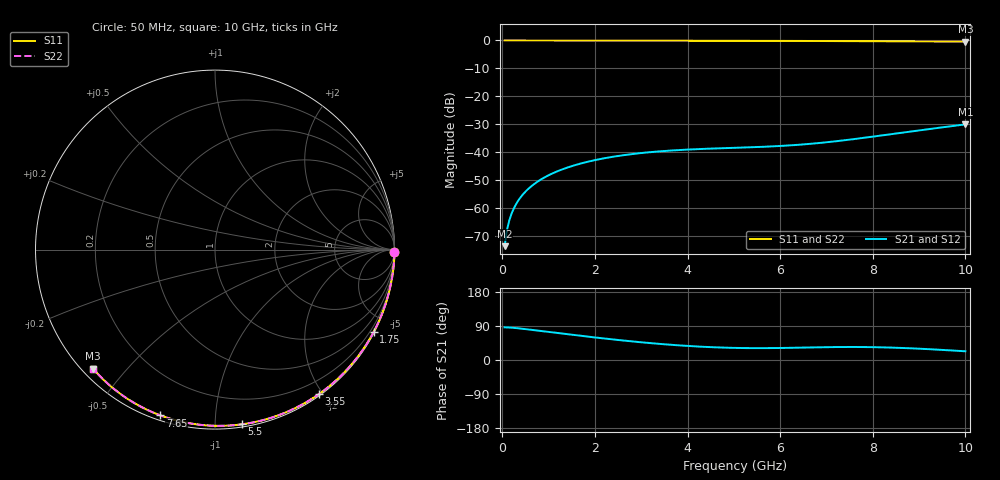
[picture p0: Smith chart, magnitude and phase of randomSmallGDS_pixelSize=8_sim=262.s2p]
! freq	dB(S11)	phase(S11)	dB(S12)	phase(S12)
!  dB(S21)	phase(S21)	dB(S22)	phase(S22)
!S-par simulation data
#  GHz  S  DB  R 50
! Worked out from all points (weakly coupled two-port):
!   200 points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, 50 MHz to 10 GHz, reference 50 ohm
!   highest |S21| = -29.98 dB at 10 GHz (marker M1); lowest = -73.5 dB at 50 MHz (marker M2)
!   lowest |S11| = -0.5 dB at 10 GHz (marker M3), VSWR 38.57, Z = 1.51 - j20.4 ohm
!   |S11| at or under -10 dB: nowhere
!   |S22| runs from -0.5 to 0.0 dB; largest |S21 - S12| = 0
!   S11 on the Smith chart (normalised r, x): 50 MHz: open; 1.75 GHz: 0.04, -4.09; 3.55 GHz: 0.02, -1.95; 5.5 GHz: 0.02, -1.17; 7.65 GHz: 0.02, -0.72; 10 GHz: 0.03, -0.41
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0.05  -0.00 -0.8  -73.47 86.1  -73.47 86.1  -0.00 -0.8
0.1  -0.00 -1.6  -67.73 85.9  -67.73 85.9  -0.00 -1.6
0.15  -0.00 -2.4  -64.32 85.7  -64.32 85.7  -0.00 -2.4
0.2  -0.00 -3.2  -61.86 85.3  -61.86 85.3  -0.00 -3.2
0.25  -0.00 -4.0  -59.95 84.8  -59.95 84.8  -0.00 -4.0
0.35  -0.00 -5.6  -57.06 83.6  -57.06 83.6  -0.00 -5.6
0.5  -0.01 -8.0  -54.00 81.5  -54.00 81.5  -0.01 -8.0
0.7  -0.01 -11.1  -51.13 78.6  -51.13 78.6  -0.01 -11.1
1  -0.02 -15.8  -48.14 74.1  -48.14 74.1  -0.02 -15.8
1.35  -0.03 -21.3  -45.70 68.8  -45.70 68.8  -0.03 -21.3
1.75  -0.04 -27.5  -43.71 63.0  -43.71 63.0  -0.04 -27.5
2.5  -0.05 -38.8  -41.25 52.8  -41.25 52.8  -0.05 -38.9
3.4  -0.07 -52.1  -39.60 42.5  -39.60 42.5  -0.07 -52.1
3.55  -0.07 -54.3  -39.42 41.0  -39.42 41.0  -0.07 -54.3
4.3  -0.09 -64.9  -38.75 35.1  -38.75 35.1  -0.09 -64.9
5.05  -0.12 -75.2  -38.32 31.8  -38.32 31.8  -0.12 -75.2
5.5  -0.13 -81.2  -38.07 31.3  -38.07 31.3  -0.13 -81.2
6.7  -0.19 -96.6  -36.85 33.2  -36.85 33.2  -0.19 -96.6
7.65  -0.24 -108.2  -35.11 34.4  -35.11 34.4  -0.24 -108.2
8.35  -0.29 -116.6  -33.57 32.9  -33.57 32.9  -0.29 -116.6
9.2  -0.37 -126.5  -31.67 28.7  -31.67 28.7  -0.37 -126.5
10  -0.45 -135.7  -29.98 23.0  -29.98 23.0  -0.45 -135.7
